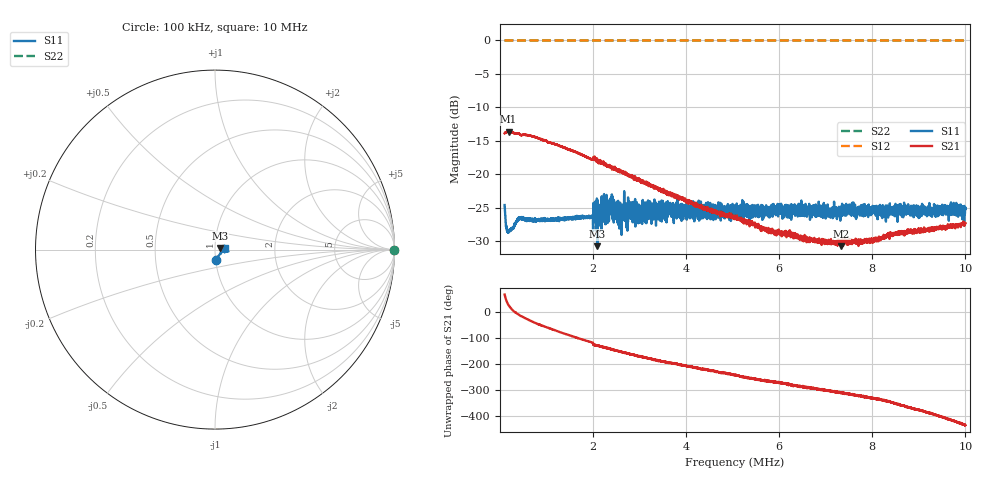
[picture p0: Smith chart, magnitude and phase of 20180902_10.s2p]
! Anritsu VNA Master:  Model: MS2026C/19
! SN:  1815009
! /card0/usr/20180902_10.s2p
! Existing Calibration Information:
! TYPE:  Current Settings,  Active Cal Settings
! TIME:  09/02/2018 12:43:18 PM,  09/02/2018 11:58:48 AM
! INTERNAL TEMP:  53.3 C,  48.8 C
! # POINTS:  4001,  4001
! START FREQ:  100.000 kHz,  100.000 kHz
! STOP FREQ:  10.000 MHz,  10.000 MHz
! SOURCE POWER:  Low,  Low
! IFBW:  500 Hz,  500 Hz
! AVG FACTOR:  5 ,  1
! REF PLANE 1:  0 mm,  0 mm
! REF PLANE 2:  0 mm,  0 mm
! CAL TYPE:  1P2P S11,S21,  1P2P S11,S21
! CAL METHOD:  SOLT,  SOLT
! CAL LINE TYPE:  Coax,  Coax
! DUT PORT 1:  N-Conn(M),  N-Conn(M)
! DUT PORT 2:  N-Conn(M),  N-Conn(M)
! CAL STATUS:  OK: Accuracy High,  --
# GHZ S RI R 50.0
! FREQ.GHZ  S11RE  S11IM  S21RE  S21IM  S12RE  S12IM  S22RE  S22IM
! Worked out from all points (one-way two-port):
!   4001 points, 100 kHz to 10 MHz, reference 50 ohm
!   highest |S21| = -13.62 dB at 184.2 kHz (marker M1); lowest = -30.7 dB at 7.337 MHz (marker M2)
!   lowest |S11| = -30.7 dB at 2.095 MHz (marker M3), VSWR 1.06, Z = 52.9 + j0.911 ohm
!   |S11| at or under -10 dB: start of sweep to end of sweep
!   |S22| runs from 0.0 to 0.0 dB; largest |S21 - S12| = 1.1
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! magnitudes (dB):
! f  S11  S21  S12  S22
! 100 kHz  -24.6  -13.9  0.0  0.0
! 154.4 kHz  -28.5  -13.6  0.0  0.0
! 184.2 kHz  -28.4  -13.6  0.0  0.0
! 439.1 kHz  -26.4  -14.1  0.0  0.0
! 763.3 kHz  -26.7  -14.4  0.0  0.0
! 1.751 MHz  -26.3  -17.0  0.0  0.0
! 1.959 MHz  -26.3  -17.7  0.0  0.0
! 2.095 MHz  -30.7  -18.1  0.0  0.0
! 2.394 MHz  -25.5  -18.8  0.0  0.0
! 2.573 MHz  -25.7  -19.4  0.0  0.0
! 2.793 MHz  -26.3  -20.2  0.0  0.0
! 3.402 MHz  -26.4  -22.2  0.0  0.0
! 3.515 MHz  -26.6  -22.6  0.0  0.0
! 3.733 MHz  -26.0  -23.1  0.0  0.0
! 4.379 MHz  -25.4  -25.0  0.0  0.0
! 5.05 MHz  -24.6  -26.2  0.0  0.0
! 5.778 MHz  -25.1  -28.3  0.0  0.0
! 6.701 MHz  -26.4  -29.8  0.0  0.0
! 7.337 MHz  -25.6  -30.7  0.0  0.0
! 7.99 MHz  -24.9  -29.8  0.0  0.0
! 8.352 MHz  -25.6  -28.9  0.0  0.0
! 10 MHz  -25.0  -27.3  0.0  0.0
